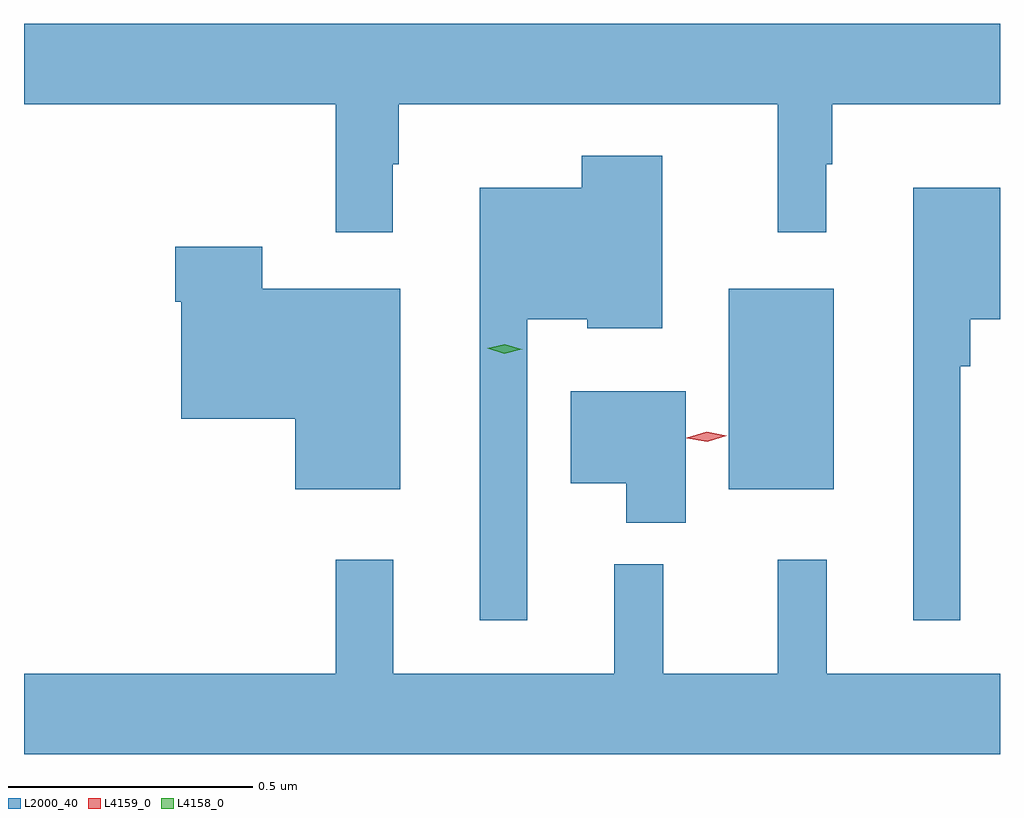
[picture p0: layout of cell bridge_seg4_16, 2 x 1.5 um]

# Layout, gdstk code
import gdstk
lib = gdstk.Library(unit=1e-6, precision=1e-09)
def R(c, l, rs):  # rectangles x0, y0, x1, y1
    for r in rs: c.add(gdstk.rectangle(r[:2], r[2:], *l))
def P(c, l, *ps):  # polygons
    for p in ps: c.add(gdstk.Polygon(p, *l))
L2000_40 = (2000, 40)
L4158_0 = (4158, 0)
L4159_0 = (4159, 0)

bridge_seg4_16 = lib.new_cell('bridge_seg4_16')
R(bridge_seg4_16, L2000_40, [(1092.872,790.703,1093.087,791.113)])
P(bridge_seg4_16, L2000_40, [(1092.184,791.369),(1092.196,791.369),(1092.196,791.492),(1092.973,791.492),(1092.973,791.229),(1093.072,791.229),(1093.072,791.369),(1093.084,791.369),(1093.084,791.492),(1093.428,791.492),(1093.428,791.656),(1091.428,791.656),(1091.428,791.492),(1092.067,791.492),(1092.067,791.229),(1092.184,791.229)],
  [(1092.459,791.051),(1092.582,791.051),(1092.582,791.033),(1092.736,791.033),(1092.736,791.386),(1092.571,791.386),(1092.571,791.32),(1092.362,791.32),(1092.362,790.434),(1092.459,790.434)],
  [(1093.347,790.955),(1093.367,790.955),(1093.367,791.051),(1093.428,791.051),(1093.428,791.32),(1093.25,791.32),(1093.25,790.434),(1093.347,790.434)],
  [(1092.199,791.113),(1091.916,791.113),(1091.916,791.2),(1091.738,791.2),(1091.738,791.087),(1091.75,791.087),(1091.75,790.847),(1091.984,790.847),(1091.984,790.703),(1092.199,790.703)],
  [(1092.784,790.903),(1092.548,790.903),(1092.548,790.715),(1092.662,790.715),(1092.662,790.634),(1092.784,790.634)],
  [(1093.428,790.324),(1093.073,790.324),(1093.073,790.558),(1092.973,790.558),(1092.973,790.324),(1092.738,790.324),(1092.738,790.549),(1092.638,790.549),(1092.638,790.324),(1092.185,790.324),(1092.185,790.558),(1092.067,790.558),(1092.067,790.324),(1091.428,790.324),(1091.428,790.16),(1093.428,790.16)])
P(bridge_seg4_16, L4158_0, [(1092.412,790.98),(1092.377,790.992),(1092.377,790.992),(1092.377,790.992),(1092.413,791),(1092.448,790.989),(1092.449,790.989),(1092.448,790.989)])
P(bridge_seg4_16, L4159_0, [(1092.828,790.8),(1092.786,790.807),(1092.786,790.808),(1092.786,790.808),(1092.827,790.82),(1092.868,790.812),(1092.868,790.812),(1092.868,790.812)])

lib.write_gds('bridge_seg4_16.gds')
